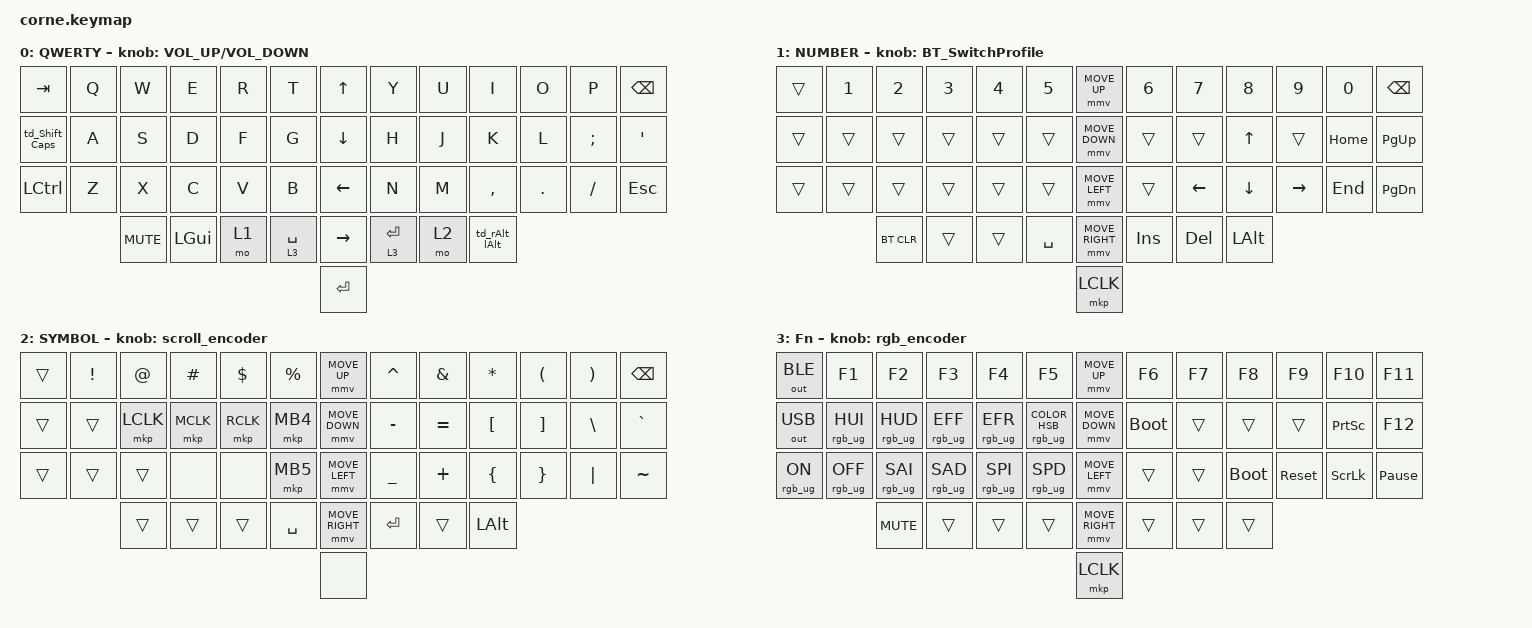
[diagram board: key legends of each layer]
#include <behaviors/mouse_keys.dtsi>
#include <dt-bindings/zmk/mouse.h>
#include <behaviors.dtsi>
#include <dt-bindings/zmk/bt.h>
#include <dt-bindings/zmk/keys.h>
#include <dt-bindings/zmk/outputs.h>
#include <dt-bindings/zmk/pointing.h>
#include <dt-bindings/zmk/pointing.h>
#include <dt-bindings/zmk/pointing.h>
#include <dt-bindings/zmk/rgb.h>

#define ZMK_MOUSE_DEFAULT_MOVE_VAL 1200  // 600
#define ZMK_MOUSE_DEFAULT_SCRL_VAL 20    // 10
#define U_MS_U &mmv MOVE_UP
#define U_MS_D &mmv MOVE_DOWN
#define U_MS_L &mmv MOVE_LEFT
#define U_MS_R &mmv MOVE_RIGHT

/ {
    behaviors {
        td_Shift_Caps: td_Shift_Caps {
            compatible = "zmk,behavior-tap-dance";
            label = "TD_SHIFT_CAPS";
            #binding-cells = <0>;
            bindings = <&kp LEFT_SHIFT>, <&kp CAPS>;
        };

        BT_SwitchProfile: BT_SwitchProfile {
            compatible = "zmk,behavior-sensor-rotate";
            label = "BT_SWITCHPROFILE";
            #sensor-binding-cells = <0>;
            bindings = <&bt BT_NXT>, <&bt BT_PRV>;

            tap-ms = <100>;
        };

        td_rAlt_lAlt: td_rAlt_lAlt {
            compatible = "zmk,behavior-tap-dance";
            label = "TD_RALT_LALT";
            #binding-cells = <0>;
            bindings = <&kp RIGHT_ALT>, <&kp LEFT_ALT>;
        };

        mmv {
            acceleration-exponent = <1>;      // 1
            time-to-max-speed-ms = <900>;    // 40
            delay-ms = <0>;                   // 0
        };

        msc {
            acceleration-exponent = <1>;      // 0
            time-to-max-speed-ms = <400>;      // 500
            delay-ms = <0>;                   // 10
        };
    };

    rgb_encoder: rgb_encoder {
        compatible = "zmk,behavior-sensor-rotate";
        label = "RGB_ENCODER";
        #sensor-binding-cells = <0>;
        bindings = <&rgb_ug RGB_BRI>, <&rgb_ug RGB_BRD>;

        tap-ms = <30>;
    };

    scroll_encoder: scroll_encoder {
        compatible = "zmk,behavior-sensor-rotate";
        label = "SCROLL_ENCODER";
        #sensor-binding-cells = <0>;
        bindings = <&msc SCRL_DOWN>, <&msc SCRL_UP>;

        tap-ms = <30>;
    };

    keymap {
        compatible = "zmk,keymap";

        default_layer {
            display-name = "QWERTY";

            // --------------------------------------------------------------------------------
            // |  TAB |  Q  |  W  |  E  |  R  |  T  |                ↑    |  Y  |  U   |  I  |  O  |  P  | BKSP |      &kp UP_ARROW 
            // | SHIFT |  A  |  S  |  D  |  F  |  G  |               ↓    |  H  |  J   |  K  |  L  |  ;  |  '   | 
            // | CTRL |  Z  |  X  |  C  |  V  |  B  |                ←    |  N  |  M   |  ,  |  .  |  /  | ESC  |
            //                    | GUI | LWR | SPC |                →    | ENT | RSE  | ALT |
            //                                                      enter

            bindings = <
&kp TAB         &kp Q  &kp W       &kp E     &kp R  &kp T          &kp UP_ARROW     &kp Y        &kp U  &kp I          &kp O    &kp P     &kp BSPC
&td_Shift_Caps  &kp A  &kp S       &kp D     &kp F  &kp G          &kp DOWN_ARROW   &kp H        &kp J  &kp K          &kp L    &kp SEMI  &kp SQT
&kp LCTRL       &kp Z  &kp X       &kp C     &kp V  &kp B          &kp LEFT_ARROW   &kp N        &kp M  &kp COMMA      &kp DOT  &kp FSLH  &kp ESC
                       &kp C_MUTE  &kp LGUI  &mo 1  &lt 3 SPACE    &kp RIGHT_ARROW  &lt 3 ENTER  &mo 2  &td_rAlt_lAlt
                                                                   &kp ENTER
            >;

            label = "QWERTY";
            sensor-bindings = <&inc_dec_kp C_VOLUME_UP C_VOLUME_DOWN>;
        };

        lower_layer {
            display-name = "NUMBER";

            // -----------------------------------------------------------------------------------------
            // |  TAB |  1  |  2  |  3  |  4  |  5  |   |  6  |  7  |  8  |  9  |  0  | BKSP |
            // | BTCLR| BT1 | BT2 | BT3 | BT4 | BT5 |   | LFT | DWN |  UP | RGT |     |      |
            // | SHFT |     |     |     |     |     |   |     |     |     |     |     |      |
            //                    | GUI |     | SPC |   | ENT |     | ALT |

            bindings = <
&trans  &kp N1  &kp N2      &kp N3  &kp N4  &kp N5       &mmv MOVE_UP     &kp N6   &kp N7    &kp N8        &kp N9     &kp N0    &kp BSPC
&trans  &trans  &trans      &trans  &trans  &trans       &mmv MOVE_DOWN   &trans   &trans    &kp UP        &trans     &kp HOME  &kp PG_UP
&trans  &trans  &trans      &trans  &trans  &trans       &mmv MOVE_LEFT   &trans   &kp LEFT  &kp DOWN      &kp RIGHT  &kp END   &kp PG_DN
                &bt BT_CLR  &trans  &trans  &kp SPACE    &mmv MOVE_RIGHT  &kp INS  &kp DEL   &kp LEFT_ALT
                                                         &mkp LCLK
            >;

            label = "NUMBER";
            sensor-bindings = <&BT_SwitchProfile>;
        };

        raise_layer {
            display-name = "SYMBOL";

            // -----------------------------------------------------------------------------------------
            // |  TAB |  !  |  @  |  #  |  $  |  %  |   |  ^  |  &  |  *  |  (  |  )  | BKSP |
            // | CTRL |     |     |     |     |     |   |  -  |  =  |  [  |  ]  |  \  |  `   |
            // | SHFT |     |     |     |     |     |   |  _  |  +  |  {  |  }  | "|" |  ~   |
            //                    | GUI |     | SPC |   | ENT |     | ALT |

            bindings = <
&trans  &kp EXCL  &kp AT     &kp HASH   &kp DLLR   &kp PRCNT    &mmv MOVE_UP     &kp CARET  &kp AMPS   &kp ASTRK     &kp LPAR  &kp RPAR  &kp BSPC
&trans  &trans    &mkp LCLK  &mkp MCLK  &mkp RCLK  &mkp MB4     &mmv MOVE_DOWN   &kp MINUS  &kp EQUAL  &kp LBKT      &kp RBKT  &kp BSLH  &kp GRAVE
&trans  &trans    &trans     &none      &none      &mkp MB5     &mmv MOVE_LEFT   &kp UNDER  &kp PLUS   &kp LBRC      &kp RBRC  &kp PIPE  &kp TILDE
                  &trans     &trans     &trans     &kp SPACE    &mmv MOVE_RIGHT  &kp RET    &trans     &kp LEFT_ALT
                                                                &none
            >;

            label = "SYMBOL";
            sensor-bindings = <&scroll_encoder>;
        };

        layer_3 {
            display-name = "Fn";
            bindings = <
&out OUT_BLE    &kp F1           &kp F2           &kp F3           &kp F4           &kp F5                               &mmv MOVE_UP     &kp F6       &kp F7  &kp F8       &kp F9      &kp F10          &kp F11
&out OUT_USB    &rgb_ug RGB_HUI  &rgb_ug RGB_HUD  &rgb_ug RGB_EFF  &rgb_ug RGB_EFR  &rgb_ug RGB_COLOR_HSB(181,100,49)    &mmv MOVE_DOWN   &bootloader  &trans  &trans       &trans      &kp PRINTSCREEN  &kp F12
&rgb_ug RGB_ON  &rgb_ug RGB_OFF  &rgb_ug RGB_SAI  &rgb_ug RGB_SAD  &rgb_ug RGB_SPI  &rgb_ug RGB_SPD                      &mmv MOVE_LEFT   &trans       &trans  &bootloader  &sys_reset  &kp SCROLLLOCK   &kp PAUSE_BREAK
                                 &kp C_MUTE       &trans           &trans           &trans                               &mmv MOVE_RIGHT  &trans       &trans  &trans
                                                                                                                         &mkp LCLK
            >;

            label = "FN";
            sensor-bindings = <&rgb_encoder>;
        };
    };
};
